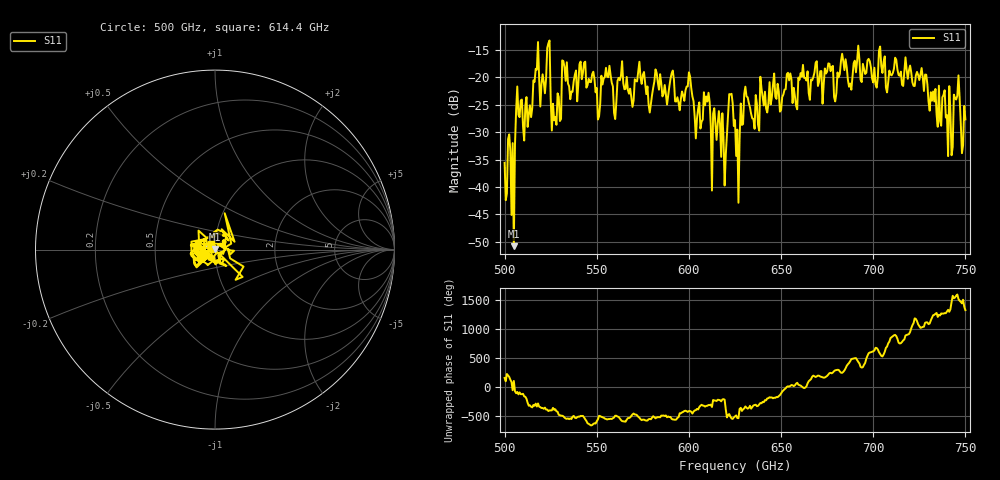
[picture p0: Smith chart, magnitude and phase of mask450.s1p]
!Created with skrf (http://scikit-rf.org).
# GHz S MA R 50.0
!freq magS11 angS11
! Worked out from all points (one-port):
!   401 points, 500 GHz to 750 GHz, reference 50 ohm
!   lowest |S11| = -50.8 dB at 505 GHz (marker M1), VSWR 1.01, Z = 49.9 + j0.283 ohm
!   |S11| at or under -10 dB: start of sweep to end of sweep
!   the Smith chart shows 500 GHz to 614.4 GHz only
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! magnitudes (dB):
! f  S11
! 500 GHz  -35.6
! 505 GHz  -50.8
! 507.5 GHz  -26.8
! 513.8 GHz  -25.1
! 516.9 GHz  -18.5
! 520.6 GHz  -19.5
! 523.8 GHz  -13.8
! 526.9 GHz  -27.9
! 531.2 GHz  -16.9
! 542.5 GHz  -19.2
! 550.6 GHz  -27.7
! 562.5 GHz  -20.5
! 593.8 GHz  -23.6
! 609.4 GHz  -23.5
! 618.8 GHz  -31.0
! 622.5 GHz  -23.1
! 625 GHz  -27.8
! 626.2 GHz  -29.5
! 631.2 GHz  -23.5
! 634.4 GHz  -27.5
! 656.2 GHz  -24.7
! 680 GHz  -22.9
! 683.8 GHz  -17.1
! 687.5 GHz  -21.1
! 718.8 GHz  -20.3
! 741.9 GHz  -26.4
! 745 GHz  -24.1
! 750 GHz  -27.7
